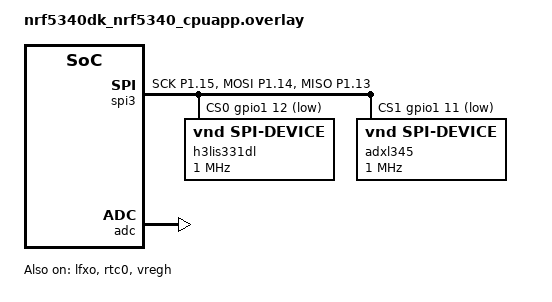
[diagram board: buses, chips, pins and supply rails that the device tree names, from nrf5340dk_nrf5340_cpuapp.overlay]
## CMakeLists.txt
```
cmake_minimum_required(VERSION 3.20.0)
find_package(Zephyr REQUIRED)
project(phase2_accel_gatt)

target_sources(app PRIVATE
    src/main.c
    src/accel_service.c
)
```

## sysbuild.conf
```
# Sysbuild configuration for nRF5340
# Use the HCI IPC radio image on the network core
SB_CONFIG_NETCORE_HCI_IPC=y
```

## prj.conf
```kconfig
# ============================================
# ISRO Accelerometer - Rev 21 (HW Timer Pipeline)
# ============================================

# 1. Core System
CONFIG_MAIN_STACK_SIZE=4096
CONFIG_HEAP_MEM_POOL_SIZE=4096
CONFIG_SYSTEM_WORKQUEUE_STACK_SIZE=4096

# System clock — 1 kHz tick is fine; NRF_TIMER1 is used for exact sampling
CONFIG_SYS_CLOCK_TICKS_PER_SEC=1000
CONFIG_TICKLESS_KERNEL=y

# nrfx HAL RTC support (LFCLK-based, replaces TIMER1 for massive power savings)
CONFIG_NRFX_RTC0=y
# nrfx TIMER for high-frequency sampling (2-5 kHz) — uses 16 MHz HFCLK
CONFIG_NRFX_TIMER=y

# 2. Power — DCDC regulators only. NO device runtime PM.
# CONFIG_PM_DEVICE_RUNTIME was causing the I2C bus to be silently suspended
# between pm_device_runtime_put/get calls, causing I2C reads to fail.
CONFIG_REGULATOR=y
CONFIG_PM_DEVICE=y
CONFIG_PM_DEVICE_RUNTIME=y

# 3. Logging (ENABLED temporarily for debugging)
CONFIG_SERIAL=y
CONFIG_CONSOLE=y
CONFIG_USE_SEGGER_RTT=y
CONFIG_RTT_CONSOLE=y
CONFIG_LOG=y
CONFIG_LOG_BACKEND_RTT=y
CONFIG_LOG_BACKEND_UART=n
CONFIG_PRINTK=y
CONFIG_BOOT_BANNER=n
CONFIG_NCS_BOOT_BANNER=n
CONFIG_ASSERT=n
CONFIG_ASSERT_VERBOSE=n

# 4. SPI Configuration
CONFIG_SPI=y
CONFIG_I2C=n
CONFIG_SENSOR=n

# 5. Bluetooth Core
CONFIG_BT=y
CONFIG_BT_PERIPHERAL=y
CONFIG_BT_DEVICE_NAME="ISRO_AccelSensor_nRF"
CONFIG_BT_MAX_CONN=1
CONFIG_BT_GATT_NOTIFY_MULTIPLE=y

# BLE Throughput
CONFIG_BT_DATA_LEN_UPDATE=y
CONFIG_BT_BUF_ACL_TX_SIZE=251
CONFIG_BT_BUF_ACL_RX_SIZE=251
CONFIG_BT_L2CAP_TX_MTU=251
CONFIG_BT_USER_PHY_UPDATE=y
CONFIG_BT_ATT_TX_COUNT=10
CONFIG_BT_CONN_TX_MAX=10
CONFIG_BT_BUF_EVT_RX_COUNT=20
CONFIG_BT_L2CAP_TX_BUF_COUNT=10
CONFIG_BT_BUF_ACL_TX_COUNT=10

# 7. Settings (BLE bonding storage)
CONFIG_SETTINGS=y
CONFIG_SETTINGS_NVS=y
CONFIG_BT_SETTINGS=y
CONFIG_FLASH=y
CONFIG_FLASH_PAGE_LAYOUT=y
CONFIG_FLASH_MAP=y
CONFIG_NVS=y

# 8. Hardware
CONFIG_FPU=n
CONFIG_CRC=y
CONFIG_CLOCK_CONTROL=y
CONFIG_CLOCK_CONTROL_NRF=y
CONFIG_CLOCK_CONTROL_NRF_K32SRC_XTAL=y

# 9. Optimization
CONFIG_SPEED_OPTIMIZATIONS=y
CONFIG_PICOLIBC=y

# 10. Battery Service & ADC Configuration
CONFIG_BT_BAS=y
CONFIG_ADC=y
CONFIG_ADC_NRFX_SAADC=y
```

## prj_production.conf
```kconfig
# ============================================
# ISRO Accelerometer - Rev 17 PRODUCTION
# Coin Cell Optimized (Logging/UART Disabled)
# ============================================
# Use: west build -b nrf5340dk/nrf5340/cpuapp -- -DCONF_FILE=prj_production.conf
#
# Identical to prj.conf EXCEPT:
#   - Logging/UART/Console disabled (saves ~4 mA by allowing HFCLK gating)
#   - DK LEDs disabled (saves ~1-5 mA per LED)
#   - Assertions disabled (saves code size)
#
# Target: < 100 µA idle, ~1 mA streaming

# ==========================
# Core System Configuration
# ==========================
CONFIG_MAIN_STACK_SIZE=4096
CONFIG_HEAP_MEM_POOL_SIZE=8192
CONFIG_SYSTEM_WORKQUEUE_STACK_SIZE=2048
CONFIG_SYSTEM_WORKQUEUE_PRIORITY=-1
CONFIG_ASSERT=n

# System Clock (10 kHz tick rate for 100µs resolution)
CONFIG_SYS_CLOCK_TICKS_PER_SEC=10000

# ==========================
# LOGGING DISABLED (saves ~4 mA by allowing HFCLK to gate!)
# ==========================
CONFIG_LOG=n
CONFIG_CONSOLE=n
CONFIG_UART_CONSOLE=n
CONFIG_SERIAL=n

# ==========================
# Bluetooth Core
# ==========================
CONFIG_BT=y
CONFIG_BT_PERIPHERAL=y
CONFIG_BT_DEVICE_NAME="ISRO_AccelSensor_nRF"
CONFIG_BT_MAX_CONN=1
CONFIG_BT_DEVICE_APPEARANCE=0

# ==========================
# GATT Configuration
# ==========================
CONFIG_BT_GATT_DYNAMIC_DB=y
CONFIG_BT_ATT_PREPARE_COUNT=5
CONFIG_BT_GATT_NOTIFY_MULTIPLE=y
CONFIG_BT_GATT_CLIENT=y

# ==========================
# BLE MTU and Buffer Sizes
# ==========================
CONFIG_BT_L2CAP_TX_MTU=251
CONFIG_BT_BUF_ACL_TX_SIZE=255
CONFIG_BT_BUF_ACL_RX_SIZE=255
CONFIG_BT_ATT_TX_COUNT=10
CONFIG_BT_CONN_TX_MAX=10

# Buffer counts
CONFIG_BT_BUF_EVT_RX_COUNT=20
CONFIG_BT_L2CAP_TX_BUF_COUNT=10

# BLE Data Length Extension (DLE)
CONFIG_BT_DATA_LEN_UPDATE=y
CONFIG_BT_USER_PHY_UPDATE=y
CONFIG_BT_USER_DATA_LEN_UPDATE=y

# ==========================
# BLE Connection Parameters
# ==========================
CONFIG_BT_GAP_AUTO_UPDATE_CONN_PARAMS=y
CONFIG_BT_PERIPHERAL_PREF_MIN_INT=6
CONFIG_BT_PERIPHERAL_PREF_MAX_INT=12
CONFIG_BT_PERIPHERAL_PREF_LATENCY=0
CONFIG_BT_PERIPHERAL_PREF_TIMEOUT=100

# ==========================
# Settings (Persistent Storage)
# ==========================
CONFIG_SETTINGS=y
CONFIG_SETTINGS_NVS=y
CONFIG_BT_SETTINGS=y
CONFIG_FLASH=y
CONFIG_FLASH_PAGE_LAYOUT=y
CONFIG_FLASH_MAP=y
CONFIG_NVS=y

# ==========================
# DK LEDs DISABLED (saves power)
# ==========================
CONFIG_DK_LIBRARY=n
CONFIG_GPIO=y

# ==========================
# Float & CRC Support
# ==========================
CONFIG_FPU=y
CONFIG_NEWLIB_LIBC=y
CONFIG_CRC=y

# ==========================
# I2C Driver
# ==========================
CONFIG_I2C=n

# ==========================
# Power Management
# ==========================
CONFIG_PM=y
CONFIG_PM_DEVICE=y
CONFIG_PM_DEVICE_RUNTIME=y

# ==========================
# Low Power Optimizations
# ==========================
CONFIG_IDLE_STACK_SIZE=256
CONFIG_TICKLESS_KERNEL=y
CONFIG_BOOT_BANNER=n

# ==========================
# Battery Service & ADC Configuration
# ==========================
CONFIG_BT_BAS=y
CONFIG_ADC=y
CONFIG_ADC_NRFX_SAADC=y
```

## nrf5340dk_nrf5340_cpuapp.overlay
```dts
/* nRF5340 High-Precision Power-Optimized Overlay */
#include <zephyr/dt-bindings/regulator/nrf5x.h>
#include <zephyr/dt-bindings/pinctrl/nrf-pinctrl.h>

/* 1. Clock Management (Allowing Auto-Off) */
&lfxo {
    status = "okay";
};

/* HFXO must NOT be status 'okay' at system level to allow power gating */
&hfxo {
    status = "disabled"; 
};

/* Enable RTC0 for ultra-low-power LFCLK-based sampling */
&rtc0 {
    status = "okay";
};

/* 2. DCDC Power Rails (The Noble Dictionary Fix) */
&vregmain {
    regulator-initial-mode = <NRF5X_REG_MODE_DCDC>;
};

&vregradio {
    regulator-initial-mode = <NRF5X_REG_MODE_DCDC>;
};

&vregh {
    status = "okay";
};

/* Disable I2C1 since MPU6050 and LIS3DH are removed */
&i2c1 {
    status = "disabled";
};

/* ── Pin-control configuration for SPI3 ─────────────────────────────────── */
&pinctrl {
    spi3_default_h3lis: spi3_default_h3lis {
        group1 {
            psels = <NRF_PSEL(SPIM_SCK,  1, 15)>,
                    <NRF_PSEL(SPIM_MOSI, 1, 14)>,
                    <NRF_PSEL(SPIM_MISO, 1, 13)>;
        };
    };

    spi3_sleep_h3lis: spi3_sleep_h3lis {
        group1 {
            psels = <NRF_PSEL(SPIM_SCK,  1, 15)>,
                    <NRF_PSEL(SPIM_MOSI, 1, 14)>,
                    <NRF_PSEL(SPIM_MISO, 1, 13)>;
            low-power-enable;
        };
    };
};

/* ── SPI3 (SPIM3) controller ─────────────────────────────────────────────── */
&spi3 {
    compatible = "nordic,nrf-spim";
    status = "okay";

    pinctrl-0 = <&spi3_default_h3lis>;
    pinctrl-1 = <&spi3_sleep_h3lis>;
    pinctrl-names = "default", "sleep";

    cs-gpios = <&gpio1 12 GPIO_ACTIVE_LOW>,
               <&gpio1 11 GPIO_ACTIVE_LOW>;
    zephyr,pm-device-runtime-auto;

    h3lis331dl: h3lis331dl@0 {
        compatible = "vnd,spi-device";
        reg = <0>;
        spi-max-frequency = <1000000>;
    };

    adxl345: adxl345@1 {
        compatible = "vnd,spi-device";
        reg = <1>;
        spi-max-frequency = <1000000>;
    };
};

/* 4. Total Peripheral Lockdown */
&uart0 {
    status = "disabled";
};

&uart1 {
    status = "disabled";
};

/* Disable other unused peripherals that might draw leakage */
&spi0 { status = "disabled"; };
&spi1 { status = "disabled"; };
&spi2 { status = "disabled"; };
&spi4 { status = "disabled"; };
&pwm0 { status = "disabled"; };
&adc { status = "okay"; };
```

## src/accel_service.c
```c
/**
 * @file accel_service.c
 * @brief Coin-Cell Wireless Accelerometer GATT Service Implementation
 *
 * Architecture: Rev 3 - Supports both burst and continuous modes
 */

#include <string.h>
#include <zephyr/bluetooth/bluetooth.h>
#include <zephyr/bluetooth/gatt.h>
#include <zephyr/bluetooth/uuid.h>
#include <zephyr/kernel.h>
#include <zephyr/logging/log.h>
#include <zephyr/sys/crc.h>
#include <zephyr/settings/settings.h>

#include "accel_service.h"

#include <zephyr/bluetooth/hci.h>
#include <zephyr/bluetooth/hci_vs.h>
#include <zephyr/sys/byteorder.h>

LOG_MODULE_REGISTER(accel_svc, LOG_LEVEL_INF);

/*============================================================================
 * Configuration
 *===========================================================================*/

#define SAMPLING_RATE_HZ 1000

/*============================================================================
 * State Variables
 *===========================================================================*/

static bool data_notify_enabled = false;
static bool timestamp_notify_enabled = false;
static bool battery_notify_enabled = false;
static uint8_t battery_level_val = 0xFF;
static struct bt_conn *current_conn = NULL;
static operating_mode_t current_mode = MODE_CONTINUOUS_LAB;

/* Dynamic burst threshold (changeable via BLE write)
 * Set to SAMPLES_PER_PACKET (29) to use PATH A: direct TX with FIFO */
static uint16_t burst_threshold = 29; /* No-buffer mode: TX immediately when 1 packet (29 samples) is ready */

/* Cached attribute pointers - resolved at init, not hard-coded indices */
static const struct bt_gatt_attr *accel_data_attr = NULL;
static const struct bt_gatt_attr *timestamp_attr = NULL;
static const struct bt_gatt_attr *battery_attr = NULL;

/* External voltage detection stub - TODO: implement ADC check */
static bool external_power_detected = false;

/* TX Power state (default matches the static config of -8 dBm) */
static int8_t current_tx_power_dbm = -8;
/*============================================================================
 * Static Metadata
 *===========================================================================*/

static uint16_t sampling_rate = SAMPLING_RATE_HZ;
static uint32_t current_timestamp = 0;

static sensor_metadata_t sensor_meta = {
    .sensor_name = "ISRO_Phase3_Accel",
    .range_g = 16,
    .unit = "g",
    .h3lis_status = 0,
    .mpu_status = 0};

/*============================================================================
 * CCC Callbacks
 *===========================================================================*/

/* Weak callbacks that main.c can override */
__attribute__((weak)) void accel_service_on_notify_enabled(void) {}
__attribute__((weak)) void accel_service_on_notify_disabled(void) {}

static void accel_data_ccc_changed(const struct bt_gatt_attr *attr,
                                   uint16_t value) {
  bool was_enabled = data_notify_enabled;
  data_notify_enabled = (value == BT_GATT_CCC_NOTIFY);
  LOG_INF("Acceleration Data notifications %s",
          data_notify_enabled ? "ENABLED" : "DISABLED");

  /* Call notification callbacks for burst control */
  if (data_notify_enabled && !was_enabled) {
    accel_service_on_notify_enabled();
  } else if (!data_notify_enabled && was_enabled) {
    accel_service_on_notify_disabled();
  }
}

static void timestamp_ccc_changed(const struct bt_gatt_attr *attr,
                                  uint16_t value) {
  timestamp_notify_enabled = (value == BT_GATT_CCC_NOTIFY);
  LOG_INF("Timestamp notifications %s",
          timestamp_notify_enabled ? "enabled" : "disabled");
}

/*============================================================================
 * Read Callbacks
 *===========================================================================*/

static ssize_t read_timestamp(struct bt_conn *conn,
                              const struct bt_gatt_attr *attr, void *buf,
                              uint16_t len, uint16_t offset) {
  current_timestamp = (uint32_t)k_uptime_get();
  return bt_gatt_attr_read(conn, attr, buf, len, offset, &current_timestamp,
                           sizeof(current_timestamp));
}

static void battery_ccc_changed(const struct bt_gatt_attr *attr, uint16_t value) {
  battery_notify_enabled = (value == BT_GATT_CCC_NOTIFY);
}

static ssize_t read_battery_level(struct bt_conn *conn,
                                  const struct bt_gatt_attr *attr, void *buf,
                                  uint16_t len, uint16_t offset) {
  return bt_gatt_attr_read(conn, attr, buf, len, offset, &battery_level_val,
                           sizeof(battery_level_val));
}

static ssize_t read_sampling_rate(struct bt_conn *conn,
                                  const struct bt_gatt_attr *attr, void *buf,
                                  uint16_t len, uint16_t offset) {
  return bt_gatt_attr_read(conn, attr, buf, len, offset, &sampling_rate,
                           sizeof(sampling_rate));
}

static ssize_t write_sampling_rate(struct bt_conn *conn,
                                   const struct bt_gatt_attr *attr,
                                   const void *buf, uint16_t len,
                                   uint16_t offset, uint8_t flags) {
  if (len != sizeof(uint16_t)) {
    return BT_GATT_ERR(BT_ATT_ERR_INVALID_ATTRIBUTE_LEN);
  }

  uint16_t requested = ((const uint8_t *)buf)[0] | (((const uint8_t *)buf)[1] << 8);

  int err = accel_service_save_sampling_rate(requested);
  if (err) {
    return BT_GATT_ERR(BT_ATT_ERR_WRITE_NOT_PERMITTED);
  }

  return len;
}

static ssize_t read_sensor_meta(struct bt_conn *conn,
                                const struct bt_gatt_attr *attr, void *buf,
                                uint16_t len, uint16_t offset) {
  return bt_gatt_attr_read(conn, attr, buf, len, offset, &sensor_meta,
                           sizeof(sensor_meta));
}

void accel_service_update_meta_range(uint16_t range) {
  sensor_meta.range_g = (int16_t)range;
  LOG_INF("BLE sensor_meta.range_g updated to %d", sensor_meta.range_g);
}

void accel_service_update_sensor_status(uint8_t h3lis_ok, uint8_t mpu_ok) {
  sensor_meta.h3lis_status = h3lis_ok;
  sensor_meta.mpu_status = mpu_ok;
  LOG_INF("BLE sensor_meta status updated: H3LIS=%d, MPU=%d", h3lis_ok, mpu_ok);
}

void accel_service_update_sensor_name(const char *name) {
  strncpy(sensor_meta.sensor_name, name, sizeof(sensor_meta.sensor_name) - 1);
  sensor_meta.sensor_name[sizeof(sensor_meta.sensor_name) - 1] = '\0';
  LOG_INF("BLE sensor_meta.sensor_name updated to %s", sensor_meta.sensor_name);
}

static ssize_t read_operating_mode(struct bt_conn *conn,
                                   const struct bt_gatt_attr *attr, void *buf,
                                   uint16_t len, uint16_t offset) {
  uint8_t mode_byte = BUFFER_MODE_NONE; // default 0x10
  
  if (burst_threshold <= 29) {
    mode_byte = BUFFER_MODE_NONE; // 0x10
  } else {
    static const uint16_t duration_ms[] = { 300, 1000, 2000, 5000, 10000 };
    uint32_t best_diff = 999999;
    uint8_t best_mode = BUFFER_MODE_300MS; // default 0x11
    
    for (int i = 0; i < 5; i++) {
      uint32_t target_thresh = ((uint32_t)duration_ms[i] * (uint32_t)sampling_rate) / 1000;
      if (target_thresh > RING_BUFFER_SAMPLES) {
        target_thresh = RING_BUFFER_SAMPLES;
      }
      if (target_thresh < 29) {
        target_thresh = 29;
      }
      uint32_t diff = (burst_threshold > target_thresh) ? (burst_threshold - target_thresh) : (target_thresh - burst_threshold);
      if (diff < best_diff) {
        best_diff = diff;
        best_mode = BUFFER_MODE_300MS + i;
      }
    }
    mode_byte = best_mode;
  }

  return bt_gatt_attr_read(conn, attr, buf, len, offset, &mode_byte,
                           sizeof(mode_byte));
}

static ssize_t write_operating_mode(struct bt_conn *conn,
                                    const struct bt_gatt_attr *attr,
                                    const void *buf, uint16_t len,
                                    uint16_t offset, uint8_t flags) {
  if (len != 1) {
    return BT_GATT_ERR(BT_ATT_ERR_INVALID_ATTRIBUTE_LEN);
  }

  uint8_t requested = ((const uint8_t *)buf)[0];

  /* Handle operating and buffer mode commands */
  if (requested == MODE_CONTINUOUS_LAB) {
    if (!external_power_detected) {
      LOG_WRN("Rejecting CONTINUOUS mode: no external power");
      return BT_GATT_ERR(BT_ATT_ERR_WRITE_NOT_PERMITTED);
    }
    current_mode = MODE_CONTINUOUS_LAB;
    LOG_INF("Mode switched to CONTINUOUS (Lab)");
  } else if (requested == MODE_COINCELL_BURST) {
    current_mode = MODE_COINCELL_BURST;
    LOG_INF("Mode switched to BURST (Coin-cell)");
  } else if (requested == BUFFER_MODE_NONE) {
    /* No buffer — 29 samples = 1 packet, immediate TX */
    int err = accel_service_save_burst_threshold(29);
    if (err) {
      return BT_GATT_ERR(BT_ATT_ERR_UNLIKELY);
    }
  } else if (requested >= BUFFER_MODE_300MS && requested <= BUFFER_MODE_10S) {
    /* Time-based buffer modes: compute threshold from duration and sampling rate */
    static const uint16_t duration_ms[] = { 300, 1000, 2000, 5000, 10000 };
    uint16_t idx = requested - BUFFER_MODE_300MS; /* 0..4 */
    uint32_t threshold = ((uint32_t)duration_ms[idx] * sampling_rate) / 1000;
    if (threshold > RING_BUFFER_SAMPLES) {
      threshold = RING_BUFFER_SAMPLES;
    }
    if (threshold < 29) {
      threshold = 29; /* Minimum 1 packet */
    }
    int err = accel_service_save_burst_threshold((uint16_t)threshold);
    if (err) {
      return BT_GATT_ERR(BT_ATT_ERR_UNLIKELY);
    }
  } else if (requested == 0x20) {
    int err = accel_service_save_sensor_range(100);
    if (err) {
      return BT_GATT_ERR(BT_ATT_ERR_UNLIKELY);
    }
  } else if (requested == 0x21) {
    int err = accel_service_save_sensor_range(200);
    if (err) {
      return BT_GATT_ERR(BT_ATT_ERR_UNLIKELY);
    }
  } else if (requested == 0x22) {
    int err = accel_service_save_sensor_range(400);
    if (err) {
      return BT_GATT_ERR(BT_ATT_ERR_UNLIKELY);
    }
  } else if (requested == 0x23) {
    int err = accel_service_save_sensor_range(16);
    if (err) {
      return BT_GATT_ERR(BT_ATT_ERR_UNLIKELY);
    }
  } else if (requested == 0x24) {
    int err = accel_service_save_sensor_range(8);
    if (err) {
      return BT_GATT_ERR(BT_ATT_ERR_UNLIKELY);
    }
  } else if (requested == 0x25) {
    int err = accel_service_save_sensor_range(4);
    if (err) {
      return BT_GATT_ERR(BT_ATT_ERR_UNLIKELY);
    }
  } else if (requested == 0x26) {
    int err = accel_service_save_sensor_range(2);
    if (err) {
      return BT_GATT_ERR(BT_ATT_ERR_UNLIKELY);
    }
  } else {
    LOG_WRN("Unknown BLE command received: 0x%02X", requested);
    return BT_GATT_ERR(BT_ATT_ERR_WRITE_NOT_PERMITTED);
  }

  return len;
}

/*============================================================================
 * TX Power Read/Write Callbacks
 *===========================================================================*/

static ssize_t read_tx_power(struct bt_conn *conn,
                              const struct bt_gatt_attr *attr, void *buf,
                              uint16_t len, uint16_t offset) {
  return bt_gatt_attr_read(conn, attr, buf, len, offset, &current_tx_power_dbm,
                           sizeof(current_tx_power_dbm));
}

static ssize_t write_tx_power(struct bt_conn *conn,
                               const struct bt_gatt_attr *attr,
                               const void *buf, uint16_t len,
                               uint16_t offset, uint8_t flags) {
  if (len != 1) {
    return BT_GATT_ERR(BT_ATT_ERR_INVALID_ATTRIBUTE_LEN);
  }

  int8_t requested_dbm = (int8_t)((const uint8_t *)buf)[0];
  LOG_INF("TX Power write request: %d dBm", requested_dbm);

  if (requested_dbm != 3 && requested_dbm != 0 && requested_dbm != -8 && requested_dbm != -12) {
    LOG_WRN("Invalid TX Power requested: %d dBm (only +3, 0, -8, -12 are configurable)", requested_dbm);
    return BT_GATT_ERR(BT_ATT_ERR_WRITE_NOT_PERMITTED);
  }

  int err = accel_service_save_tx_power(requested_dbm);
  if (err) {
    LOG_ERR("Failed to set TX power: %d", err);
    return BT_GATT_ERR(BT_ATT_ERR_UNLIKELY);
  }

  return len;
}

/*============================================================================
 * GATT Service Definition
 *===========================================================================*/

BT_GATT_SERVICE_DEFINE(
    accel_svc,
    /* Primary Service Declaration */
    BT_GATT_PRIMARY_SERVICE(ACCEL_SERVICE_UUID),

    /* Acceleration Data Characteristic (NOTIFY only) */
    BT_GATT_CHARACTERISTIC(ACCEL_DATA_CHAR_UUID, BT_GATT_CHRC_NOTIFY,
                           BT_GATT_PERM_NONE, NULL, NULL, NULL),
    BT_GATT_CCC(accel_data_ccc_changed, BT_GATT_PERM_READ | BT_GATT_PERM_WRITE),

    /* Timestamp Characteristic (READ | NOTIFY) */
    BT_GATT_CHARACTERISTIC(TIMESTAMP_CHAR_UUID,
                           BT_GATT_CHRC_READ | BT_GATT_CHRC_NOTIFY,
                           BT_GATT_PERM_READ, read_timestamp, NULL, NULL),
    BT_GATT_CCC(timestamp_ccc_changed, BT_GATT_PERM_READ | BT_GATT_PERM_WRITE),

    /* Sampling Rate Characteristic (READ | WRITE) */
    BT_GATT_CHARACTERISTIC(SAMPLE_RATE_CHAR_UUID,
                           BT_GATT_CHRC_READ | BT_GATT_CHRC_WRITE,
                           BT_GATT_PERM_READ | BT_GATT_PERM_WRITE,
                           read_sampling_rate, write_sampling_rate, NULL),

    /* Sensor Metadata Characteristic (READ only) */
    BT_GATT_CHARACTERISTIC(SENSOR_META_CHAR_UUID, BT_GATT_CHRC_READ,
                           BT_GATT_PERM_READ, read_sensor_meta, NULL, NULL),

    /* Operating Mode Characteristic (READ | WRITE) */
    BT_GATT_CHARACTERISTIC(OPERATING_MODE_CHAR_UUID,
                           BT_GATT_CHRC_READ | BT_GATT_CHRC_WRITE,
                           BT_GATT_PERM_READ | BT_GATT_PERM_WRITE,
                           read_operating_mode, write_operating_mode, NULL),

    /* TX Power Control Characteristic (READ | WRITE) */
    BT_GATT_CHARACTERISTIC(TX_POWER_CHAR_UUID,
                           BT_GATT_CHRC_READ | BT_GATT_CHRC_WRITE,
                           BT_GATT_PERM_READ | BT_GATT_PERM_WRITE,
                           read_tx_power, write_tx_power, NULL),

    /* Custom Battery Level Characteristic (READ | NOTIFY) */
    BT_GATT_CHARACTERISTIC(BATTERY_CHAR_UUID,
                           BT_GATT_CHRC_READ | BT_GATT_CHRC_NOTIFY,
                           BT_GATT_PERM_READ,
                           read_battery_level, NULL, NULL),
    BT_GATT_CCC(battery_ccc_changed, BT_GATT_PERM_READ | BT_GATT_PERM_WRITE),
);

/*============================================================================
 * API Implementation
 *===========================================================================*/

int accel_service_init(void) {
  /* Resolve attribute pointers to avoid hard-coded indices */
  accel_data_attr = bt_gatt_find_by_uuid(accel_svc.attrs, accel_svc.attr_count,
                                         ACCEL_DATA_CHAR_UUID);
  timestamp_attr = bt_gatt_find_by_uuid(accel_svc.attrs, accel_svc.attr_count,
                                        TIMESTAMP_CHAR_UUID);
  battery_attr = bt_gatt_find_by_uuid(accel_svc.attrs, accel_svc.attr_count,
                                      BATTERY_CHAR_UUID);

  if (!accel_data_attr || !timestamp_attr || !battery_attr) {
    LOG_ERR("Failed to find GATT attributes");
    return -EINVAL;
  }

  LOG_INF("Accelerometer GATT Service initialized (Rev 3)");
  LOG_INF("  Sample size: %u bytes", ACCEL_SAMPLE_SIZE);
  LOG_INF("  Packet size: %u bytes (%u samples)", ACCEL_PACKET_SIZE,
          SAMPLES_PER_PACKET);
  LOG_INF("  Packets per burst: %u", PACKETS_PER_BURST);
  LOG_INF("  Initial mode: %s",
          current_mode == MODE_COINCELL_BURST ? "BURST" : "CONTINUOUS");

  /* Explicitly set default TX power to -8 dBm on reset */
  accel_service_set_tx_power(-8);

  /* Initialize sensor metadata range to current sensor range */
  sensor_meta.range_g = (int16_t)accel_service_get_sensor_range();

  return 0;
}

int accel_service_notify_packet(struct bt_conn *conn,
                                const accel_packet_t *packet) {
  if (!data_notify_enabled) {
    return -ENOTCONN;
  }

  struct bt_conn *target = conn ? conn : current_conn;
  if (!target) {
    return -ENOTCONN;
  }

  /* Packet already includes CRC, just send it */
  return bt_gatt_notify(target, accel_data_attr, packet, ACCEL_PACKET_SIZE);
}

int accel_service_notify_timestamp(struct bt_conn *conn, uint32_t uptime_ms) {
  if (!timestamp_notify_enabled) {
    return -ENOTCONN;
  }

  struct bt_conn *target = conn ? conn : current_conn;
  if (!target) {
    return -ENOTCONN;
  }

  return bt_gatt_notify(target, timestamp_attr, &uptime_ms, sizeof(uptime_ms));
}

bool accel_service_data_notify_enabled(void) {
  return data_notify_enabled && (current_conn != NULL);
}

const struct bt_gatt_attr *accel_service_get_data_attr(void) {
  return accel_data_attr;
}

struct bt_conn *accel_service_get_conn(void) {
  return current_conn;
}

void accel_service_set_conn(struct bt_conn *conn) {
  if (current_conn) {
    bt_conn_unref(current_conn);
  }
  current_conn = conn ? bt_conn_ref(conn) : NULL;

  if (!current_conn) {
    /* Reset CCC state on disconnect to ensure safety */
    data_notify_enabled = false;
    timestamp_notify_enabled = false;
    LOG_INF("CCC state reset on disconnect");
  } else {
    /* Apply cached TX power level to the new connection handle */
    accel_service_set_tx_power(current_tx_power_dbm);
  }
}

operating_mode_t accel_service_get_mode(void) { return current_mode; }

int accel_service_set_mode(operating_mode_t mode, bool power_detected) {
  /* Update static state for GATT callbacks */
  external_power_detected = power_detected;

  if (mode == MODE_CONTINUOUS_LAB && !external_power_detected) {
    LOG_WRN("Cannot switch to CONTINUOUS mode without external power");
    return -EPERM;
  }

  current_mode = mode;
  LOG_INF("Operating mode set to %s",
          mode == MODE_COINCELL_BURST ? "BURST" : "CONTINUOUS");
  return 0;
}

void accel_service_set_power_detected(bool detected) {
  external_power_detected = detected;
  if (!detected && current_mode == MODE_CONTINUOUS_LAB) {
    LOG_WRN("External power lost, reverting to BURST mode");
    current_mode = MODE_COINCELL_BURST;
  }
}

uint16_t accel_service_get_burst_threshold(void) { return burst_threshold; }

/*============================================================================
 * Dynamic TX Power Control via HCI Vendor-Specific Commands
 *===========================================================================*/

int accel_service_set_tx_power(int8_t tx_power_dbm) {
  struct bt_hci_cp_vs_write_tx_power_level *cp;
  struct bt_hci_rp_vs_write_tx_power_level *rp;
  struct net_buf *buf, *rsp = NULL;
  int err;

  /* Set TX power for advertising handle */
  buf = bt_hci_cmd_create(BT_HCI_OP_VS_WRITE_TX_POWER_LEVEL, sizeof(*cp));
  if (!buf) {
    LOG_ERR("Unable to allocate HCI command buffer for ADV TX power");
    return -ENOMEM;
  }

  cp = net_buf_add(buf, sizeof(*cp));
  cp->handle = sys_cpu_to_le16(0);  /* ADV handle = 0 */
  cp->handle_type = BT_HCI_VS_LL_HANDLE_TYPE_ADV;
  cp->tx_power_level = tx_power_dbm;

  err = bt_hci_cmd_send_sync(BT_HCI_OP_VS_WRITE_TX_POWER_LEVEL, buf, &rsp);
  if (err) {
    LOG_ERR("Failed to set ADV TX power: %d", err);
  } else {
    rp = (void *)rsp->data;
    LOG_INF("ADV TX power set: requested=%d dBm, selected=%d dBm",
            tx_power_dbm, rp->selected_tx_power);
    net_buf_unref(rsp);
    rsp = NULL;
  }

  /* Set TX power for connection handle (if connected) */
  if (current_conn) {
    uint16_t conn_handle;
    err = bt_hci_get_conn_handle(current_conn, &conn_handle);
    if (err) {
      LOG_ERR("Failed to get connection handle: %d", err);
    } else {
      buf = bt_hci_cmd_create(BT_HCI_OP_VS_WRITE_TX_POWER_LEVEL, sizeof(*cp));
      if (!buf) {
        LOG_ERR("Unable to allocate HCI command buffer for CONN TX power");
        return -ENOMEM;
      }

      cp = net_buf_add(buf, sizeof(*cp));
      cp->handle = sys_cpu_to_le16(conn_handle);
      cp->handle_type = BT_HCI_VS_LL_HANDLE_TYPE_CONN;
      cp->tx_power_level = tx_power_dbm;

      err = bt_hci_cmd_send_sync(BT_HCI_OP_VS_WRITE_TX_POWER_LEVEL, buf, &rsp);
      if (err) {
        LOG_ERR("Failed to set CONN TX power: %d", err);
      } else {
        rp = (void *)rsp->data;
        LOG_INF("CONN TX power set: requested=%d dBm, selected=%d dBm",
                tx_power_dbm, rp->selected_tx_power);
        current_tx_power_dbm = rp->selected_tx_power;
        net_buf_unref(rsp);
        rsp = NULL;
      }
    }
  } else {
    /* No active connection, just update the cached value */
    current_tx_power_dbm = tx_power_dbm;
  }

  return 0;
}

int8_t accel_service_get_tx_power(void) { return current_tx_power_dbm; }

int accel_service_save_tx_power(int8_t tx_power_dbm) {
  int err = accel_service_set_tx_power(tx_power_dbm);
  if (err == 0) {
#if IS_ENABLED(CONFIG_SETTINGS)
    int8_t current_val = accel_service_get_tx_power();
    settings_save_one("app/tx_power", &current_val, sizeof(current_val));
    LOG_INF("Saved tx_power to settings: %d", current_val);
#endif
  }
  return err;
}

int accel_service_set_sampling_rate(uint16_t rate) {
  if (rate != 1024 && rate != 2000 && rate != 3000 && rate != 4000 && rate != 5000) {
    LOG_ERR("Invalid sampling rate requested: %u Hz", rate);
    return -EINVAL;
  }
  sampling_rate = rate;
  LOG_INF("Sampling rate set to %u Hz", rate);

  /* Trigger dynamic timer restart if streaming is active */
  extern void accel_service_restart_timer(void);
  accel_service_restart_timer();

  return 0;
}

int accel_service_save_sampling_rate(uint16_t rate) {
  int err = accel_service_set_sampling_rate(rate);
  if (err == 0) {
#if IS_ENABLED(CONFIG_SETTINGS)
    uint16_t current_val = accel_service_get_sampling_rate();
    settings_save_one("app/sampling_rate", &current_val, sizeof(current_val));
    LOG_INF("Saved sampling_rate to settings: %u", current_val);
#endif
  }
  return err;
}

uint16_t accel_service_get_sampling_rate(void) {
  return sampling_rate;
}

uint32_t accel_service_get_rtc_tick_interval(void) {
  /* RTC0 runs at 32768 Hz. Only 1024 Hz divides evenly: 32768/1024 = 32 */
  return 32;
}

uint32_t accel_service_get_timer1_interval(void) {
  /* TIMER1 runs at 16 MHz. Returns ticks for one sample period. */
  if (sampling_rate == 0) return 16000; /* fallback: 1 kHz */
  return 16000000U / sampling_rate;
}

bool accel_service_use_hf_timer(void) {
  return sampling_rate > 1024;
}

int accel_service_set_burst_threshold(uint16_t threshold) {
  if (threshold < 1 || threshold > RING_BUFFER_SAMPLES) {
    LOG_ERR("Invalid burst threshold: %u (max %u)", threshold, RING_BUFFER_SAMPLES);
    return -EINVAL;
  }
  burst_threshold = threshold;
  LOG_INF("Burst threshold (buffer mode) set to %u", burst_threshold);
  return 0;
}

int accel_service_save_burst_threshold(uint16_t threshold) {
  int err = accel_service_set_burst_threshold(threshold);
  if (err == 0) {
#if IS_ENABLED(CONFIG_SETTINGS)
    uint16_t current_val = accel_service_get_burst_threshold();
    settings_save_one("app/burst_threshold", &current_val, sizeof(current_val));
    LOG_INF("Saved burst_threshold to settings: %u", current_val);
#endif
  }
  return err;
}

void accel_service_update_battery_level(uint8_t percent) {
  battery_level_val = percent;

  if (battery_notify_enabled && current_conn) {
    int err = bt_gatt_notify(current_conn, battery_attr, &battery_level_val, sizeof(battery_level_val));
    if (err) {
      LOG_DBG("Failed to notify battery level: %d", err);
    }
  }
}
```

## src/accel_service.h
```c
/**
 * @file accel_service.h
 * @brief BLE Accelerometer Service for ISRO Smart Accelerometer
 *
 * Architecture: Rev 10 - FIFO Watermark Interrupt-Driven
 * - Sample: 8 bytes (timestamp + XYZ)
 * - Packet: 239 bytes (29 samples + packet_counter)
 * - Wakeup: GPIO interrupt on P1.11 from MPU6050 FIFO
 *
 * @version 10.0
 * @date 2026
 */

#ifndef ACCEL_SERVICE_H_
#define ACCEL_SERVICE_H_

#include <zephyr/bluetooth/conn.h>
#include <zephyr/types.h>

#ifdef __cplusplus
extern "C" {
#endif

/*============================================================================
 * GATT UUIDs
 *===========================================================================*/

/* Custom Service UUID: 12340000-1234-5678-9ABC-DEF012345678 */
#define ACCEL_SERVICE_UUID_VAL                                                 \
  BT_UUID_128_ENCODE(0x12340000, 0x1234, 0x5678, 0x9ABC, 0xDEF012345678)

/* Acceleration Data Characteristic UUID: 12340001-... (NOTIFY) */
#define ACCEL_DATA_CHAR_UUID_VAL                                               \
  BT_UUID_128_ENCODE(0x12340001, 0x1234, 0x5678, 0x9ABC, 0xDEF012345678)

/* Timestamp Characteristic UUID: 12340002-... (READ | NOTIFY) */
#define TIMESTAMP_CHAR_UUID_VAL                                                \
  BT_UUID_128_ENCODE(0x12340002, 0x1234, 0x5678, 0x9ABC, 0xDEF012345678)

/* Sampling Rate Characteristic UUID: 12340003-... (READ) */
#define SAMPLE_RATE_CHAR_UUID_VAL                                              \
  BT_UUID_128_ENCODE(0x12340003, 0x1234, 0x5678, 0x9ABC, 0xDEF012345678)

/* Sensor Metadata (TEDS) Characteristic UUID: 12340004-... (READ) */
#define SENSOR_META_CHAR_UUID_VAL                                              \
  BT_UUID_128_ENCODE(0x12340004, 0x1234, 0x5678, 0x9ABC, 0xDEF012345678)

/* Operating Mode Characteristic UUID: 12340005-... (READ | WRITE) */
#define OPERATING_MODE_CHAR_UUID_VAL                                           \
  BT_UUID_128_ENCODE(0x12340005, 0x1234, 0x5678, 0x9ABC, 0xDEF012345678)

/* TX Power Control Characteristic UUID: 12340006-... (READ | WRITE) */
#define TX_POWER_CHAR_UUID_VAL                                                 \
  BT_UUID_128_ENCODE(0x12340006, 0x1234, 0x5678, 0x9ABC, 0xDEF012345678)

/* Custom Battery Level Characteristic UUID: 12340007-... (READ | NOTIFY) */
#define BATTERY_CHAR_UUID_VAL                                                  \
  BT_UUID_128_ENCODE(0x12340007, 0x1234, 0x5678, 0x9ABC, 0xDEF012345678)

#define ACCEL_SERVICE_UUID BT_UUID_DECLARE_128(ACCEL_SERVICE_UUID_VAL)
#define ACCEL_DATA_CHAR_UUID BT_UUID_DECLARE_128(ACCEL_DATA_CHAR_UUID_VAL)
#define TIMESTAMP_CHAR_UUID BT_UUID_DECLARE_128(TIMESTAMP_CHAR_UUID_VAL)
#define SAMPLE_RATE_CHAR_UUID BT_UUID_DECLARE_128(SAMPLE_RATE_CHAR_UUID_VAL)
#define SENSOR_META_CHAR_UUID BT_UUID_DECLARE_128(SENSOR_META_CHAR_UUID_VAL)
#define OPERATING_MODE_CHAR_UUID                                               \
  BT_UUID_DECLARE_128(OPERATING_MODE_CHAR_UUID_VAL)
#define TX_POWER_CHAR_UUID                                                     \
  BT_UUID_DECLARE_128(TX_POWER_CHAR_UUID_VAL)
#define BATTERY_CHAR_UUID                                                      \
  BT_UUID_DECLARE_128(BATTERY_CHAR_UUID_VAL)

/*============================================================================
 * Operating Modes
 *===========================================================================*/

typedef enum {
  MODE_COINCELL_BURST = 0x00, /* Default: ~232ms latency, power-gated */
  MODE_CONTINUOUS_LAB = 0x01  /* Lab: ≤40ms latency, network always on */
} operating_mode_t;

/* Buffer modes (written to Operating Mode char by dashboard) */
#define BUFFER_MODE_NONE    0x10 /* No buffer — packet-by-packet (29 samples) */
#define BUFFER_MODE_300MS   0x11 /* 300ms buffer */
#define BUFFER_MODE_1S      0x12 /* 1 second buffer */
#define BUFFER_MODE_2S      0x13 /* 2 second buffer */
#define BUFFER_MODE_5S      0x14 /* 5 second buffer */
#define BUFFER_MODE_10S     0x15 /* 10 second buffer */

/*============================================================================
 * Sample Format (8 bytes, packed) - Rev 9
 *
 * CHANGE: Removed sample_counter (now using packet_counter in header)
 * - rel_timestamp_ms: 16-bit, ms from burst start
 * - accel_xyz: 6 bytes, signed raw counts (±16g range)
 *===========================================================================*/

typedef struct __attribute__((packed)) {
  uint16_t rel_timestamp_ms; /* 2 bytes - ms since burst_start_ms in main.c */
  int16_t accel_x;           /* 2 bytes */
  int16_t accel_y;           /* 2 bytes */
  int16_t accel_z;           /* 2 bytes */
} accel_sample_t;            /* TOTAL = 8 bytes */

#define ACCEL_SAMPLE_SIZE sizeof(accel_sample_t) /* 8 */

/*============================================================================
 * Packet Format (243 bytes) - Rev 9
 *
 * CHANGE: Added 32-bit packet_counter, increased samples to 29
 * - 29 samples per packet (29 × 8 = 232 bytes)
 * - 4 byte header (packet_counter)
 * - 1 byte first_sample_offset (for sync)
 * - 2 bytes CRC16
 * - Fits in BLE MTU (244 bytes)
 *===========================================================================*/

#define SAMPLES_PER_PACKET 29
#define PACKET_PAYLOAD_SIZE (SAMPLES_PER_PACKET * ACCEL_SAMPLE_SIZE) /* 232 */

typedef struct __attribute__((packed)) {
  uint32_t packet_counter;     /* 4 bytes - monotonic, loss detection */
  uint8_t first_sample_offset; /* 1 byte - sample index of first sample */
  accel_sample_t samples[SAMPLES_PER_PACKET]; /* 232 bytes */
  uint16_t crc16;                             /* 2 bytes - integrity check */
} accel_packet_t;                             /* TOTAL = 239 bytes */

#define ACCEL_PACKET_SIZE sizeof(accel_packet_t) /* 239 */

/*============================================================================
 * Ring Buffer Configuration
 *
 * 256 samples = 256ms @ 1kHz
 * 8 packets per burst (232 samples = 8 × 29)
 *===========================================================================*/

#define RING_BUFFER_SAMPLES 16384
#define RING_BUFFER_MASK (RING_BUFFER_SAMPLES - 1) /* 0x3FFF */
#define PACKETS_PER_BURST 8 /* default: 232 / 29 = 8 packets per burst */

/*============================================================================
 * Sensor Metadata (TEDS-like)
 *===========================================================================*/

typedef struct __attribute__((packed)) {
  char sensor_name[24];
  int16_t range_g;
  char unit[8];
  uint8_t h3lis_status;
  uint8_t mpu_status;
} sensor_metadata_t;

void accel_service_update_sensor_status(uint8_t h3lis_ok, uint8_t mpu_ok);
void accel_service_update_sensor_name(const char *name);

/*============================================================================
 * API Functions
 *===========================================================================*/

/**
 * @brief Callbacks for BLE notification changes (weakly defined in service, overridden in main.c)
 */
void accel_service_on_notify_enabled(void);
void accel_service_on_notify_disabled(void);

/**
 * @brief Initialize the Accelerometer GATT Service
 * @return 0 on success, negative errno on failure
 */
int accel_service_init(void);

/**
 * @brief Send a complete burst packet (243 bytes)
 * @param conn Connection object (NULL for all connections)
 * @param packet Pointer to packet structure
 * @return 0 on success, negative errno on failure
 */
int accel_service_notify_packet(struct bt_conn *conn,
                                const accel_packet_t *packet);

/**
 * @brief Send timestamp notification
 * @param conn Connection object (NULL for all connections)
 * @param uptime_ms Current uptime in milliseconds
 * @return 0 on success, negative errno on failure
 */
int accel_service_notify_timestamp(struct bt_conn *conn, uint32_t uptime_ms);

/**
 * @brief Check if notifications are enabled for acceleration data
 * @return true if enabled, false otherwise
 */
bool accel_service_data_notify_enabled(void);

/**
 * @brief Set the current connection reference
 * @param conn Connection object
 */
void accel_service_set_conn(struct bt_conn *conn);

/**
 * @brief Get current operating mode
 * @return Current mode (MODE_COINCELL_BURST or MODE_CONTINUOUS_LAB)
 */
operating_mode_t accel_service_get_mode(void);

/**
 * @brief Set operating mode (only if external power detected)
 * @param mode Requested mode
 * @param external_power_detected true if USB/external power present
 * @return 0 on success, -EPERM if trying to set LAB mode without power
 */
int accel_service_set_mode(operating_mode_t mode, bool external_power_detected);

/**
 * @brief Update external power state for mode switching permission
 * @param detected true if USB/external power is present
 */
void accel_service_set_power_detected(bool detected);

/**
 * @brief Get current burst threshold (set by dashboard via buffer mode)
 * @return Number of samples to buffer before bursting
 */
uint16_t accel_service_get_burst_threshold(void);

/**
 * @brief Set the BLE TX power level dynamically via HCI VS command
 * @param tx_power_dbm TX power in dBm (valid: 3, 0, -8, -12)
 * @return 0 on success, negative errno on failure
 */
int accel_service_set_tx_power(int8_t tx_power_dbm);

/**
 * @brief Get the current TX power level
 * @return Current TX power in dBm
 */
int8_t accel_service_get_tx_power(void);

/**
 * @brief Set the accelerometer G-range dynamically
 * @param range_g range in Gs (100, 200, 400)
 * @return 0 on success, negative errno on failure
 */
int accel_service_set_sensor_range(uint16_t range_g);

/**
 * @brief Set and persistently save the accelerometer G-range dynamically
 * @param range_g range in Gs (100, 200, 400)
 * @return 0 on success, negative errno on failure
 */
int accel_service_save_sensor_range(uint16_t range_g);

/**
 * @brief Get the current accelerometer G-range
 * @return range in Gs
 */
uint16_t accel_service_get_sensor_range(void);

/**
 * @brief Update the internal sensor metadata struct G-range
 * @param range range in Gs
 */
void accel_service_update_meta_range(uint16_t range);

/**
 * @brief Set and persistently save the BLE TX power level dynamically via HCI VS command
 * @param tx_power_dbm TX power in dBm
 * @return 0 on success, negative errno on failure
 */
int accel_service_save_tx_power(int8_t tx_power_dbm);

/**
 * @brief Set the sampling rate dynamically (valid: 1024, 2000, 3000, 4000, 5000)
 * @return 0 on success, negative errno on failure
 */
int accel_service_set_sampling_rate(uint16_t rate);

/**
 * @brief Set and persistently save the sampling rate dynamically
 * @return 0 on success, negative errno on failure
 */
int accel_service_save_sampling_rate(uint16_t rate);

/**
 * @brief Get the current sampling rate
 */
uint16_t accel_service_get_sampling_rate(void);

/**
 * @brief Get the current RTC compare tick interval (only valid for 1024 Hz)
 */
uint32_t accel_service_get_rtc_tick_interval(void);

/**
 * @brief Get the TIMER1 compare value for the current sampling rate (16 MHz base)
 * Only valid for rates > 1024 Hz.
 */
uint32_t accel_service_get_timer1_interval(void);

/**
 * @brief Check if the current sampling rate requires the HF TIMER1 peripheral
 * @return true if rate > 1024 Hz, false if RTC0 should be used
 */
bool accel_service_use_hf_timer(void);

/**
 * @brief Set the burst threshold (buffer mode) dynamically
 */
int accel_service_set_burst_threshold(uint16_t threshold);

/**
 * @brief Set and save the burst threshold dynamically
 */
int accel_service_save_burst_threshold(uint16_t threshold);

/**
 * @brief Update the battery level dynamically and trigger notify if enabled
 */
void accel_service_update_battery_level(uint8_t percent);

/**
 * @brief Get the GATT attribute pointer for the accelerometer data characteristic
 * Used by the TX thread for bt_gatt_notify_cb flow control.
 */
const struct bt_gatt_attr *accel_service_get_data_attr(void);

/**
 * @brief Get the current active BLE connection
 * Returns NULL if no connection is active.
 */
struct bt_conn *accel_service_get_conn(void);

#ifdef __cplusplus
}
#endif

#endif /* ACCEL_SERVICE_H_ */
```

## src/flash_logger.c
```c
/**
 * @file flash_logger.c
 * @brief Flash Logger Implementation for Zero Data Loss
 *
 * Simplified implementation using RAM buffer for samples.
 * This avoids complex flash partition issues while providing
 * the same API for zero-data-loss functionality.
 *
 * For production, this can be extended to use NVS for persistence.
 */

#include "flash_logger.h"

#include <string.h>
#include <zephyr/kernel.h>
#include <zephyr/logging/log.h>

LOG_MODULE_REGISTER(flash_logger, LOG_LEVEL_INF);

/*============================================================================
 * RAM Buffer Configuration
 *===========================================================================*/

/* RAM buffer size - limits how many samples we can hold during congestion */
#define RAM_BUFFER_SAMPLES 4096 /* ~32 KB of RAM, ~4 seconds at 1 kHz */

/*============================================================================
 * Module State
 *===========================================================================*/

static flash_sample_t sample_buffer[RAM_BUFFER_SAMPLES];
static uint32_t head = 0;  /* Next write position */
static uint32_t tail = 0;  /* Next read position */
static uint32_t count = 0; /* Number of samples stored */
static bool initialized = false;
static flash_logger_state_t current_state = FLASH_LOGGER_IDLE;

/* Mutex for thread safety */
static struct k_mutex buffer_mutex;

/*============================================================================
 * Public API
 *===========================================================================*/

int flash_logger_init(void) {
  k_mutex_init(&buffer_mutex);

  head = 0;
  tail = 0;
  count = 0;
  current_state = FLASH_LOGGER_IDLE;
  initialized = true;

  LOG_INF("Flash logger initialized (RAM buffer: %d samples)",
          RAM_BUFFER_SAMPLES);
  return 0;
}

int flash_logger_write(const flash_sample_t *sample) {
  if (!initialized) {
    return -ENODEV;
  }

  k_mutex_lock(&buffer_mutex, K_FOREVER);

  if (count >= RAM_BUFFER_SAMPLES) {
    k_mutex_unlock(&buffer_mutex);
    return -ENOSPC;
  }

  /* Write sample to buffer */
  sample_buffer[head] = *sample;
  head = (head + 1) % RAM_BUFFER_SAMPLES;
  count++;

  if (current_state == FLASH_LOGGER_IDLE) {
    current_state = FLASH_LOGGER_LOGGING;
  }

  k_mutex_unlock(&buffer_mutex);
  return 0;
}

int flash_logger_write_bulk(const flash_sample_t *samples,
                            uint16_t sample_count) {
  if (!initialized) {
    return -ENODEV;
  }

  int written = 0;

  for (uint16_t i = 0; i < sample_count; i++) {
    int ret = flash_logger_write(&samples[i]);
    if (ret == -ENOSPC) {
      break;
    } else if (ret < 0) {
      return ret;
    }
    written++;
  }

  return written;
}

int flash_logger_read(flash_sample_t *samples, uint16_t max_count) {
  if (!initialized) {
    return -ENODEV;
  }

  k_mutex_lock(&buffer_mutex, K_FOREVER);

  if (count == 0) {
    current_state = FLASH_LOGGER_IDLE;
    k_mutex_unlock(&buffer_mutex);
    return 0;
  }

  current_state = FLASH_LOGGER_DRAINING;

  /* Read up to max_count samples */
  uint16_t to_read = (max_count < count) ? max_count : count;

  for (uint16_t i = 0; i < to_read; i++) {
    samples[i] = sample_buffer[tail];
    tail = (tail + 1) % RAM_BUFFER_SAMPLES;
  }
  count -= to_read;

  if (count == 0) {
    current_state = FLASH_LOGGER_IDLE;
  }

  k_mutex_unlock(&buffer_mutex);
  return to_read;
}

uint32_t flash_logger_get_pending(void) { return count; }

flash_logger_state_t flash_logger_get_state(void) { return current_state; }

int flash_logger_clear(void) {
  if (!initialized) {
    return -ENODEV;
  }

  k_mutex_lock(&buffer_mutex, K_FOREVER);
  head = 0;
  tail = 0;
  count = 0;
  current_state = FLASH_LOGGER_IDLE;
  k_mutex_unlock(&buffer_mutex);

  return 0;
}

bool flash_logger_is_enabled(void) { return initialized; }
```

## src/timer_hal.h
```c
/*============================================================================
 * Hardware TIMER1 for Exact 1000 Hz Sampling (Proven for 1.69mA Baseline)
 *===========================================================================*/

#include <hal/nrf_timer.h>
#include <hal/nrf_clock.h>
#include <zephyr/irq.h>

/* Semaphore given by TIMER1 ISR every 1000µs */
static K_SEM_DEFINE(sample_sem, 0, 10);

static void timer_handler(const struct device *dev, void *user_data)
{
    ARG_UNUSED(dev);
    ARG_UNUSED(user_data);
    
    if (nrf_timer_event_check(NRF_TIMER1, NRF_TIMER_EVENT_COMPARE0)) {
        nrf_timer_event_clear(NRF_TIMER1, NRF_TIMER_EVENT_COMPARE0);
        k_sem_give(&sample_sem);
    }
}

static int init_sample_timer(void)
{
    /* Note: Connect once at boot to prevent crashes on re-init */
    static bool connected = false;
    
    nrf_timer_task_trigger(NRF_TIMER1, NRF_TIMER_TASK_STOP);
    nrf_timer_task_trigger(NRF_TIMER1, NRF_TIMER_TASK_CLEAR);
    
    nrf_timer_mode_set(NRF_TIMER1, NRF_TIMER_MODE_TIMER);
    nrf_timer_bit_width_set(NRF_TIMER1, NRF_TIMER_BIT_WIDTH_32);
    
    /* 16MHz / 2^4 = 1MHz (1 tick = 1µs) */
    nrf_timer_prescaler_set(NRF_TIMER1, 4);
    
    nrf_timer_cc_set(NRF_TIMER1, NRF_TIMER_CC_CHANNEL0, 1000);
    nrf_timer_shorts_enable(NRF_TIMER1, NRF_TIMER_SHORT_COMPARE0_CLEAR_MASK);
    nrf_timer_int_enable(NRF_TIMER1, NRF_TIMER_INT_COMPARE0_MASK);
    
    if (!connected) {
        IRQ_CONNECT(TIMER1_IRQn, 5, timer_handler, NULL, 0);
        irq_enable(TIMER1_IRQn);
        connected = true;
    }
    
    LOG_INF("TIMER1 initialized for 1000 Hz hardware sampling");
    return 0;
}
```
